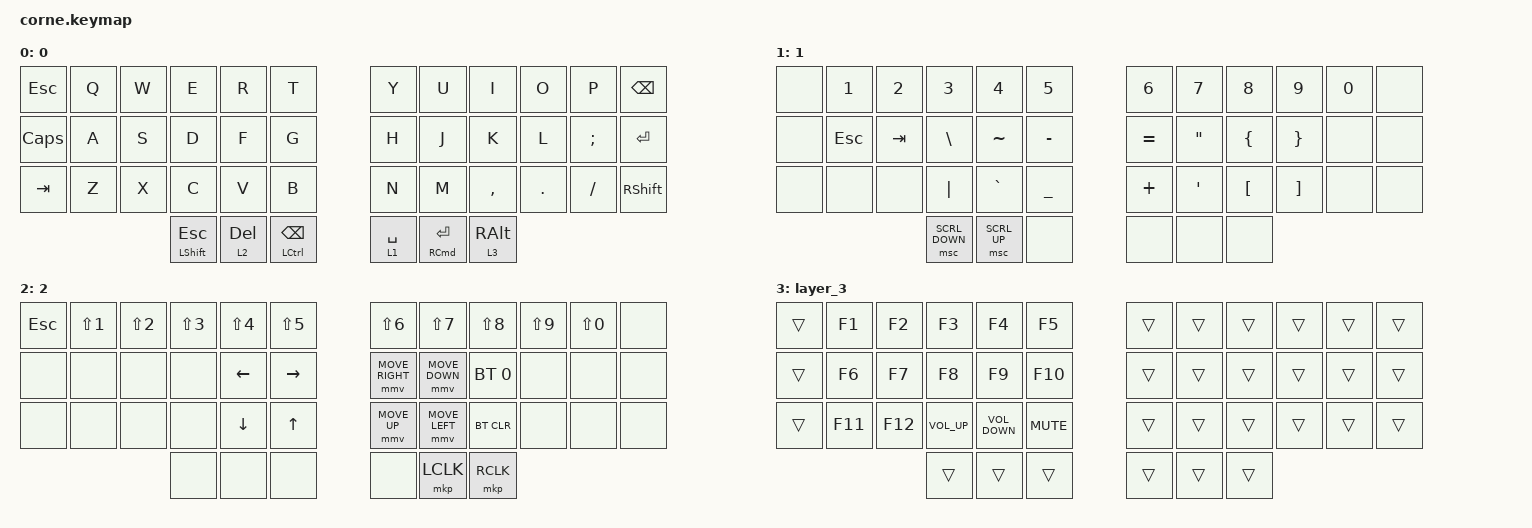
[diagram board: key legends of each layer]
/*
 * Copyright (c) 2020 The ZMK Contributors
 *
 * SPDX-License-Identifier: MIT
 */

#include <behaviors.dtsi>
#include <dt-bindings/zmk/bt.h>
#include <dt-bindings/zmk/keys.h>
#include <dt-bindings/zmk/pointing.h>

#define DEFAULT_L 0
#define SYMBOLS_L 1
#define ARROWS_L  2
#define NUMBERS_L 3

/ {
    behaviors {
        hm: homerow_mods {
            compatible = "zmk,behavior-hold-tap";
            label = "HOMEROW_MODS";
            #binding-cells = <2>;
            tapping-term-ms = <300>;
            quick-tap-ms = <200>;
            flavor = "tap-preferred";
            bindings = <&kp>, <&kp>;
        };
    };

    combos {
        compatible = "zmk,combos";

        d {
            bindings = <&kp BACKSPACE>;
            key-positions = <10 9>;
        };
    };

    keymap {
        compatible = "zmk,keymap";

        default_layer {
            label = "0";
            bindings = <
&kp ESC       &kp Q  &kp W  &kp E                  &kp R      &kp T                         &kp Y        &kp U                     &kp I            &kp O    &kp P     &kp BSPC
&kp CAPSLOCK  &kp A  &kp S  &kp D                  &kp F      &kp G                         &kp H        &kp J                     &kp K            &kp L    &kp SEMI  &kp RET
&kp TAB       &kp Z  &kp X  &kp C                  &kp V      &kp B                         &kp N        &kp M                     &kp COMMA        &kp DOT  &kp FSLH  &kp RSHFT
                            &mt LEFT_SHIFT ESCAPE  &lt 2 DEL  &mt LEFT_CONTROL BACKSPACE    &lt 1 SPACE  &mt RIGHT_COMMAND RETURN  &lt 3 RIGHT_ALT
            >;
        };

        number_layer {
            label = "1";
            bindings = <
&none  &kp N1      &kp N2   &kp N3          &kp N4        &kp N5            &kp N6     &kp N7             &kp N8            &kp N9             &kp N0  &none
&none  &kp ESCAPE  &kp TAB  &kp BACKSLASH   &kp TILDE     &kp MINUS         &kp EQUAL  &kp DOUBLE_QUOTES  &kp LEFT_BRACE    &kp RIGHT_BRACE    &none   &none
&none  &none       &none    &kp PIPE        &kp GRAVE     &kp UNDERSCORE    &kp PLUS   &kp SQT            &kp LEFT_BRACKET  &kp RIGHT_BRACKET  &none   &none
                            &msc SCRL_DOWN  &msc SCRL_UP  &none             &none      &none              &none
            >;
        };

        bt_layer {
            label = "2";
            bindings = <
&kp ESC  &kp LS(N1)  &kp LS(N2)  &kp LS(N3)  &kp LS(N4)      &kp LS(N5)      &kp LS(N6)       &kp LS(N7)      &kp LS(N8)    &kp LS(N9)  &kp LS(N0)  &none
&none    &none       &none       &none       &kp LEFT_ARROW  &kp RIGHT       &mmv MOVE_RIGHT  &mmv MOVE_DOWN  &bt BT_SEL 0  &none       &none       &none
&none    &none       &none       &none       &kp DOWN        &kp UP_ARROW    &mmv MOVE_UP     &mmv MOVE_LEFT  &bt BT_CLR    &none       &none       &none
                                 &none       &none           &none           &none            &mkp LCLK       &mkp RCLK
            >;
        };

        layer_3 {
            bindings = <
&trans  &kp F1   &kp F2   &kp F3           &kp F4             &kp F5        &trans  &trans  &trans  &trans  &trans  &trans
&trans  &kp F6   &kp F7   &kp F8           &kp F9             &kp F10       &trans  &trans  &trans  &trans  &trans  &trans
&trans  &kp F11  &kp F12  &kp K_VOLUME_UP  &kp C_VOLUME_DOWN  &kp K_MUTE    &trans  &trans  &trans  &trans  &trans  &trans
                          &trans           &trans             &trans        &trans  &trans  &trans
            >;
        };
    };
};
